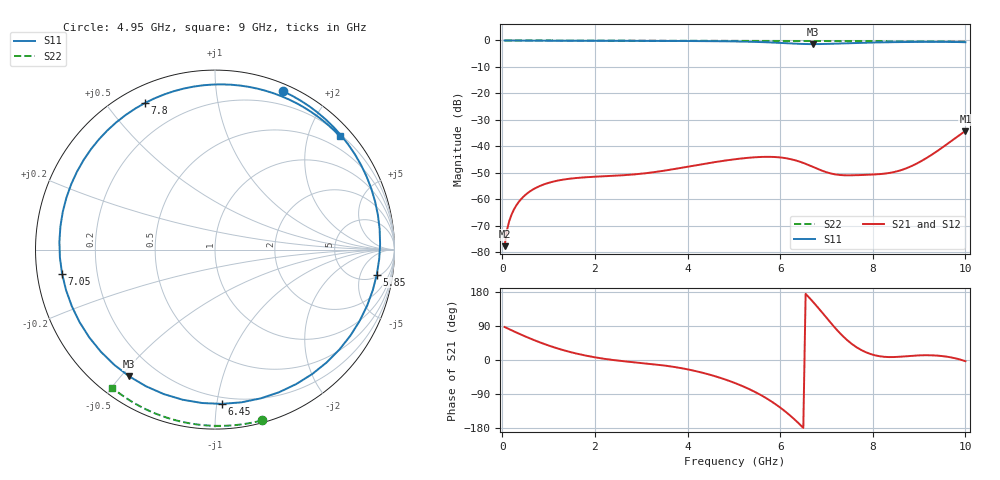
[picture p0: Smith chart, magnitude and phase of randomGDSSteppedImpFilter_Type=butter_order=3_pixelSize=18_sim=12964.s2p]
! freq	dB(S11)	phase(S11)	dB(S12)	phase(S12)
!  dB(S21)	phase(S21)	dB(S22)	phase(S22)
!S-par simulation data
#  GHz  S  DB  R 50
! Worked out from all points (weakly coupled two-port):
!   200 points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, 50 MHz to 10 GHz, reference 50 ohm
!   highest |S21| = -34.26 dB at 10 GHz (marker M1); lowest = -77.7 dB at 50 MHz (marker M2)
!   lowest |S11| = -1.4 dB at 6.7 GHz (marker M3), VSWR 12.57, Z = 5.09 - j26.4 ohm
!   |S11| at or under -10 dB: nowhere
!   |S22| runs from -0.5 to 0.0 dB; largest |S21 - S12| = 0
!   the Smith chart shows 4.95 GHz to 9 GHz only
!   S11 on the Smith chart (normalised r, x): 4.95 GHz: 0.07, +1.52; 5.85 GHz: 6, -10; 6.45 GHz: 0.16, -1.03; 7.05 GHz: 0.07, -0.08; 7.8 GHz: 0.07, +0.63; 9 GHz: 0.24, +2.57
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0.05  -0.00 -5.0  -77.71 87.1  -77.71 87.1  -0.00 -0.8
0.1  -0.01 -10.1  -71.71 84.2  -71.71 84.2  -0.00 -1.6
0.2  -0.03 -19.9  -65.77 78.4  -65.77 78.4  -0.00 -3.2
0.5  -0.06 -48.4  -58.33 62.0  -58.33 62.0  -0.01 -8.0
1.05  -0.10 -93.8  -53.54 36.1  -53.54 36.1  -0.02 -16.7
1.75  -0.12 -138.4  -51.74 13.0  -51.74 13.0  -0.04 -27.7
2.55  -0.14 -178.1  -50.98 -2.3  -50.98 -2.3  -0.05 -39.9
3.4  -0.17 144.6  -49.45 -13.0  -49.45 -13.0  -0.07 -52.6
4.25  -0.23 105.6  -46.94 -31.4  -46.94 -31.4  -0.09 -64.9
4.95  -0.35 66.6  -45.04 -57.4  -45.04 -57.4  -0.11 -74.7
5.05  -0.38 60.1  -44.82 -62.0  -44.82 -62.0  -0.12 -76.1
5.5  -0.56 25.7  -44.08 -87.0  -44.08 -87.0  -0.13 -82.2
5.85  -0.80 -8.8  -44.00 -112.4  -44.00 -112.4  -0.15 -86.9
6.15  -1.07 -45.3  -44.56 -139.8  -44.56 -139.8  -0.16 -90.8
6.45  -1.31 -87.5  -45.95 -173.0  -45.95 -173.0  -0.18 -94.7
6.7  -1.38 -124.0  -47.69 154.8  -47.69 154.8  -0.19 -98.0
7.05  -1.28 -171.0  -50.05 104.2  -50.05 104.2  -0.21 -102.4
7.35  -1.11 155.5  -50.90 63.5  -50.90 63.5  -0.23 -106.2
7.8  -0.87 115.6  -50.80 23.3  -50.80 23.3  -0.26 -111.9
8.35  -0.67 78.1  -50.08 7.7  -50.08 7.7  -0.30 -118.7
9  -0.54 42.3  -46.03 12.2  -46.03 12.2  -0.36 -126.6
10  -0.68 -6.9  -34.26 -3.0  -34.26 -3.0  -0.48 -138.8
